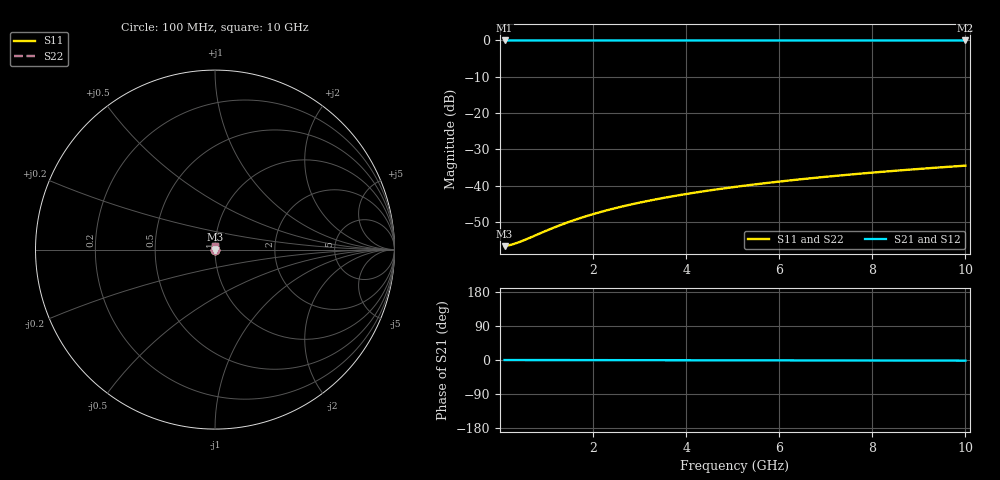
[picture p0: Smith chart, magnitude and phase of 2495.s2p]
# Hz S RI R 50.00
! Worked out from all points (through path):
!   100 points, 100 MHz to 10 GHz, reference 50 ohm
!   highest |S21| = -0.01 dB at 100 MHz (marker M1); lowest = 0.0 dB at 10 GHz (marker M2)
!   lowest |S11| = -56.6 dB at 100 MHz (marker M3), VSWR 1.00, Z = 50.1 + j0.0188 ohm
!   |S11| at or under -10 dB: start of sweep to end of sweep
!   |S22| runs from -56.6 to -34.5 dB; largest |S21 - S12| = 0
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1e8  0.00146 0.000188  0.9985 -0.000286  0.9985 -0.000286  0.00146 0.000188
2e8  0.00147 0.000375  0.9985 -0.000573  0.9985 -0.000573  0.00147 0.000375
3e8  0.00148 0.000563  0.9985 -0.000859  0.9985 -0.000859  0.00148 0.000563
4e8  0.00148 0.000751  0.9985 -0.00115  0.9985 -0.00115  0.00148 0.000751
6e8  0.00149 0.00113  0.9985 -0.00172  0.9985 -0.00172  0.00149 0.00113
1e9  0.00151 0.00188  0.9985 -0.00286  0.9985 -0.00286  0.00151 0.00188
1.2e9  0.00152 0.00225  0.9985 -0.00344  0.9985 -0.00344  0.00152 0.00225
1.5e9  0.00153 0.00282  0.9985 -0.0043  0.9985 -0.0043  0.00153 0.00282
1.8e9  0.00154 0.00338  0.9985 -0.00516  0.9985 -0.00516  0.00154 0.00338
2.1e9  0.00155 0.00394  0.9984 -0.00601  0.9984 -0.00601  0.00155 0.00394
2.5e9  0.00157 0.00469  0.9984 -0.00716  0.9984 -0.00716  0.00157 0.00469
2.9e9  0.00159 0.00544  0.9984 -0.00831  0.9984 -0.00831  0.00159 0.00544
3.4e9  0.00161 0.00638  0.9984 -0.00974  0.9984 -0.00974  0.00161 0.00638
3.8e9  0.00163 0.00713  0.9984 -0.0109  0.9984 -0.0109  0.00163 0.00713
4.2e9  0.00165 0.00788  0.9983 -0.012  0.9983 -0.012  0.00165 0.00788
4.6e9  0.00168 0.00863  0.9983 -0.0132  0.9983 -0.0132  0.00168 0.00863
5.1e9  0.00171 0.00957  0.9983 -0.0146  0.9983 -0.0146  0.00171 0.00957
5.9e9  0.00177 0.0111  0.9982 -0.0169  0.9982 -0.0169  0.00177 0.0111
6.7e9  0.00183 0.0126  0.9981 -0.0192  0.9981 -0.0192  0.00183 0.0126
7.5e9  0.0019 0.0141  0.9981 -0.0215  0.9981 -0.0215  0.0019 0.0141
8.4e9  0.00198 0.0158  0.998 -0.0241  0.998 -0.0241  0.00198 0.0158
1e10  0.00216 0.0188  0.9978 -0.0287  0.9978 -0.0287  0.00216 0.0188
